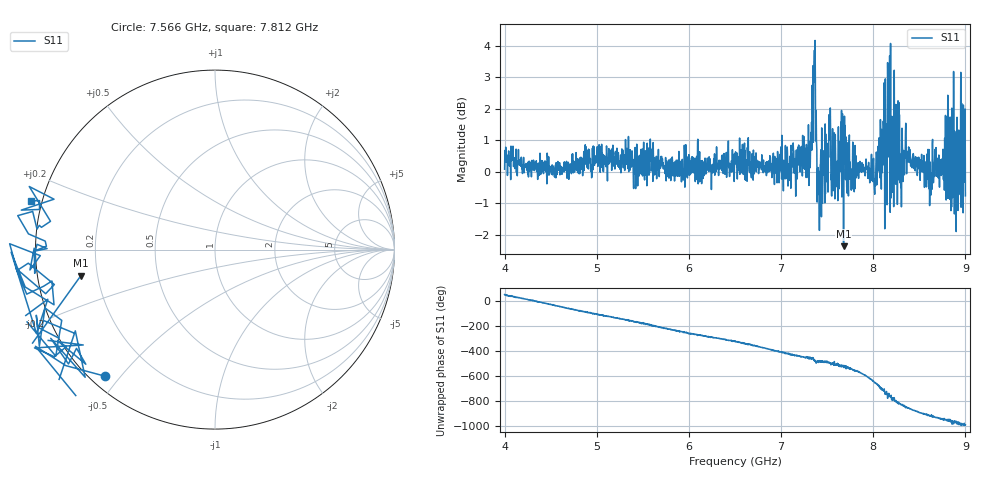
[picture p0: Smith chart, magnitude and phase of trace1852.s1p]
! Created with skrf 1.8.0 (http://scikit-rf.org).
# Hz S RI R 50.0
!freq ReS11 ImS11
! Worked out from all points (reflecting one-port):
!   1601 points, 4 GHz to 9 GHz, reference 50 ohm
!   lowest |S11| = -2.4 dB at 7.678 GHz (marker M1), VSWR 7.41, Z = 6.81 - j4.75 ohm
!   phase of S11 starts at 54 deg and turns -1041 deg over the sweep
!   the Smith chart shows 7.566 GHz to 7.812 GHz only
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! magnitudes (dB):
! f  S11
! 4 GHz  0.1
! 4.625 GHz  -0.1
! 5.25 GHz  0.2
! 5.875 GHz  -0.1
! 6.5 GHz  0.3
! 7.125 GHz  0.2
! 7.297 GHz  1.5
! 7.325 GHz  1.3
! 7.356 GHz  3.2
! 7.378 GHz  2.0
! 7.397 GHz  -0.7
! 7.412 GHz  -0.4
! 7.509 GHz  -0.6
! 7.609 GHz  0.3
! 7.678 GHz  -2.4
! 7.75 GHz  0.1
! 8.022 GHz  -0.2
! 8.147 GHz  1.4
! 8.156 GHz  3.5
! 8.209 GHz  1.1
! 8.253 GHz  1.0
! 8.312 GHz  1.4
! 8.375 GHz  0.6
! 8.612 GHz  -1.1
! 8.788 GHz  -0.7
! 8.841 GHz  0.7
! 8.972 GHz  0.3
! 9 GHz  -0.8
